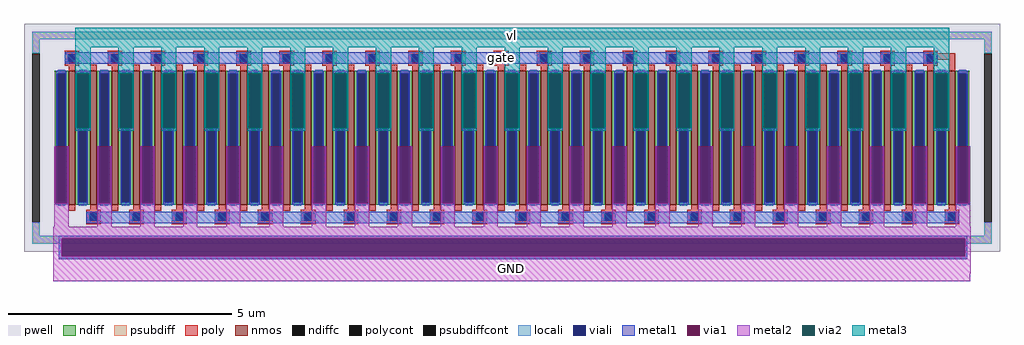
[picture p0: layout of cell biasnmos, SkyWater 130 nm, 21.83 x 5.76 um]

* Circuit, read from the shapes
.subckt biasnmos GND gate vl
XM1 vl gate GND GND sky130_fd_pr__nfet_01v8 w=3 l=0.15 m=42
.ends

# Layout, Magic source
magic
tech sky130A
magscale 1 2
<< poly >>
rect 3963 675 4060 701
rect 3967 671 4060 675
rect 4030 623 4060 671
<< locali >>
rect 50 -128 4114 -118
rect 50 -206 62 -128
rect 4102 -206 4114 -128
rect 50 -216 4114 -206
<< viali >>
rect 62 -206 4102 -128
<< metal1 >>
rect 76 654 3980 706
rect 126 620 188 622
rect 318 620 380 622
rect 510 620 572 622
rect 702 620 764 622
rect 894 620 956 622
rect 1086 620 1148 622
rect 1278 620 1340 622
rect 1470 620 1532 622
rect 1662 620 1724 622
rect 1854 620 1916 622
rect 2046 620 2108 622
rect 2238 620 2300 622
rect 2430 620 2492 622
rect 2622 620 2684 622
rect 2814 620 2876 622
rect 3006 620 3068 622
rect 3198 620 3260 622
rect 3390 620 3452 622
rect 3582 620 3644 622
rect 3774 620 3836 622
rect 3966 620 4028 622
rect 126 614 190 620
rect 126 364 132 614
rect 184 364 190 614
rect 318 614 382 620
rect 318 364 324 614
rect 376 364 382 614
rect 510 614 574 620
rect 510 364 516 614
rect 568 364 574 614
rect 702 614 766 620
rect 702 364 708 614
rect 760 364 766 614
rect 894 614 958 620
rect 894 364 900 614
rect 952 364 958 614
rect 1086 614 1150 620
rect 1086 364 1092 614
rect 1144 364 1150 614
rect 1278 614 1342 620
rect 1278 364 1284 614
rect 1336 364 1342 614
rect 1470 614 1534 620
rect 1470 364 1476 614
rect 1528 364 1534 614
rect 1662 614 1726 620
rect 1662 364 1668 614
rect 1720 364 1726 614
rect 1854 614 1918 620
rect 1854 364 1860 614
rect 1912 364 1918 614
rect 2046 614 2110 620
rect 2046 364 2052 614
rect 2104 364 2110 614
rect 2238 614 2302 620
rect 2238 364 2244 614
rect 2296 364 2302 614
rect 2430 614 2494 620
rect 2430 364 2436 614
rect 2488 364 2494 614
rect 2622 614 2686 620
rect 2622 364 2628 614
rect 2680 364 2686 614
rect 2814 614 2878 620
rect 2814 364 2820 614
rect 2872 364 2878 614
rect 3006 614 3070 620
rect 3006 364 3012 614
rect 3064 364 3070 614
rect 3198 614 3262 620
rect 3198 364 3204 614
rect 3256 364 3262 614
rect 3390 614 3454 620
rect 3390 364 3396 614
rect 3448 364 3454 614
rect 3582 614 3646 620
rect 3582 364 3588 614
rect 3640 364 3646 614
rect 3774 614 3838 620
rect 3774 364 3780 614
rect 3832 364 3838 614
rect 3966 614 4030 620
rect 3966 364 3972 614
rect 4024 364 4030 614
rect 30 30 36 284
rect 88 30 94 284
rect 30 24 94 30
rect 222 30 228 284
rect 280 30 286 284
rect 222 24 286 30
rect 414 30 420 284
rect 472 30 478 284
rect 414 24 478 30
rect 606 30 612 284
rect 664 30 670 284
rect 606 24 670 30
rect 798 30 804 284
rect 856 30 862 284
rect 798 24 862 30
rect 990 30 996 284
rect 1048 30 1054 284
rect 990 24 1054 30
rect 1182 30 1188 284
rect 1240 30 1246 284
rect 1182 24 1246 30
rect 1374 30 1380 284
rect 1432 30 1438 284
rect 1374 24 1438 30
rect 1566 30 1572 284
rect 1624 30 1630 284
rect 1566 24 1630 30
rect 1758 30 1764 284
rect 1816 30 1822 284
rect 1758 24 1822 30
rect 1950 30 1956 284
rect 2008 30 2014 284
rect 1950 24 2014 30
rect 2142 30 2148 284
rect 2200 30 2206 284
rect 2142 24 2206 30
rect 2334 30 2340 284
rect 2392 30 2398 284
rect 2334 24 2398 30
rect 2526 30 2532 284
rect 2584 30 2590 284
rect 2526 24 2590 30
rect 2718 30 2724 284
rect 2776 30 2782 284
rect 2718 24 2782 30
rect 2910 30 2916 284
rect 2968 30 2974 284
rect 2910 24 2974 30
rect 3102 30 3108 284
rect 3160 30 3166 284
rect 3102 24 3166 30
rect 3294 30 3300 284
rect 3352 30 3358 284
rect 3294 24 3358 30
rect 3486 30 3492 284
rect 3544 30 3550 284
rect 3486 24 3550 30
rect 3678 30 3684 284
rect 3736 30 3742 284
rect 3678 24 3742 30
rect 3870 30 3876 284
rect 3928 30 3934 284
rect 3870 24 3934 30
rect 4062 30 4068 284
rect 4120 30 4126 284
rect 4062 24 4126 30
rect 172 -60 4076 -8
rect 50 -128 4114 -116
rect 50 -208 62 -128
rect 4104 -208 4114 -128
rect 50 -220 4114 -208
<< via1 >>
rect 132 364 184 614
rect 324 364 376 614
rect 516 364 568 614
rect 708 364 760 614
rect 900 364 952 614
rect 1092 364 1144 614
rect 1284 364 1336 614
rect 1476 364 1528 614
rect 1668 364 1720 614
rect 1860 364 1912 614
rect 2052 364 2104 614
rect 2244 364 2296 614
rect 2436 364 2488 614
rect 2628 364 2680 614
rect 2820 364 2872 614
rect 3012 364 3064 614
rect 3204 364 3256 614
rect 3396 364 3448 614
rect 3588 364 3640 614
rect 3780 364 3832 614
rect 3972 364 4024 614
rect 36 30 88 284
rect 228 30 280 284
rect 420 30 472 284
rect 612 30 664 284
rect 804 30 856 284
rect 996 30 1048 284
rect 1188 30 1240 284
rect 1380 30 1432 284
rect 1572 30 1624 284
rect 1764 30 1816 284
rect 1956 30 2008 284
rect 2148 30 2200 284
rect 2340 30 2392 284
rect 2532 30 2584 284
rect 2724 30 2776 284
rect 2916 30 2968 284
rect 3108 30 3160 284
rect 3300 30 3352 284
rect 3492 30 3544 284
rect 3684 30 3736 284
rect 3876 30 3928 284
rect 4068 30 4120 284
rect 62 -206 4102 -128
rect 4102 -206 4104 -128
rect 62 -208 4104 -206
<< metal2 >>
rect 126 620 188 622
rect 318 620 380 622
rect 510 620 572 622
rect 702 620 764 622
rect 894 620 956 622
rect 1086 620 1148 622
rect 1278 620 1340 622
rect 1470 620 1532 622
rect 1662 620 1724 622
rect 1854 620 1916 622
rect 2046 620 2108 622
rect 2238 620 2300 622
rect 2430 620 2492 622
rect 2622 620 2684 622
rect 2814 620 2876 622
rect 3006 620 3068 622
rect 3198 620 3260 622
rect 3390 620 3452 622
rect 3582 620 3644 622
rect 3774 620 3836 622
rect 3966 620 4028 622
rect 126 614 190 620
rect 126 612 132 614
rect 184 612 190 614
rect 126 364 130 612
rect 186 364 190 612
rect 126 354 190 364
rect 318 614 382 620
rect 318 612 324 614
rect 376 612 382 614
rect 318 364 322 612
rect 378 364 382 612
rect 318 354 382 364
rect 510 614 574 620
rect 510 612 516 614
rect 568 612 574 614
rect 510 364 514 612
rect 570 364 574 612
rect 510 354 574 364
rect 702 614 766 620
rect 702 612 708 614
rect 760 612 766 614
rect 702 364 706 612
rect 762 364 766 612
rect 702 354 766 364
rect 894 614 958 620
rect 894 612 900 614
rect 952 612 958 614
rect 894 364 898 612
rect 954 364 958 612
rect 894 354 958 364
rect 1086 614 1150 620
rect 1086 612 1092 614
rect 1144 612 1150 614
rect 1086 364 1090 612
rect 1146 364 1150 612
rect 1086 354 1150 364
rect 1278 614 1342 620
rect 1278 612 1284 614
rect 1336 612 1342 614
rect 1278 364 1282 612
rect 1338 364 1342 612
rect 1278 354 1342 364
rect 1470 614 1534 620
rect 1470 612 1476 614
rect 1528 612 1534 614
rect 1470 364 1474 612
rect 1530 364 1534 612
rect 1470 354 1534 364
rect 1662 614 1726 620
rect 1662 612 1668 614
rect 1720 612 1726 614
rect 1662 364 1666 612
rect 1722 364 1726 612
rect 1662 354 1726 364
rect 1854 614 1918 620
rect 1854 612 1860 614
rect 1912 612 1918 614
rect 1854 364 1858 612
rect 1914 364 1918 612
rect 1854 354 1918 364
rect 2046 614 2110 620
rect 2046 612 2052 614
rect 2104 612 2110 614
rect 2046 364 2050 612
rect 2106 364 2110 612
rect 2046 354 2110 364
rect 2238 614 2302 620
rect 2238 612 2244 614
rect 2296 612 2302 614
rect 2238 364 2242 612
rect 2298 364 2302 612
rect 2238 354 2302 364
rect 2430 614 2494 620
rect 2430 612 2436 614
rect 2488 612 2494 614
rect 2430 364 2434 612
rect 2490 364 2494 612
rect 2430 354 2494 364
rect 2622 614 2686 620
rect 2622 612 2628 614
rect 2680 612 2686 614
rect 2622 364 2626 612
rect 2682 364 2686 612
rect 2622 354 2686 364
rect 2814 614 2878 620
rect 2814 612 2820 614
rect 2872 612 2878 614
rect 2814 364 2818 612
rect 2874 364 2878 612
rect 2814 354 2878 364
rect 3006 614 3070 620
rect 3006 612 3012 614
rect 3064 612 3070 614
rect 3006 364 3010 612
rect 3066 364 3070 612
rect 3006 354 3070 364
rect 3198 614 3262 620
rect 3198 612 3204 614
rect 3256 612 3262 614
rect 3198 364 3202 612
rect 3258 364 3262 612
rect 3198 354 3262 364
rect 3390 614 3454 620
rect 3390 612 3396 614
rect 3448 612 3454 614
rect 3390 364 3394 612
rect 3450 364 3454 612
rect 3390 354 3454 364
rect 3582 614 3646 620
rect 3582 612 3588 614
rect 3640 612 3646 614
rect 3582 364 3586 612
rect 3642 364 3646 612
rect 3582 354 3646 364
rect 3774 614 3838 620
rect 3774 612 3780 614
rect 3832 612 3838 614
rect 3774 364 3778 612
rect 3834 364 3838 612
rect 3774 354 3838 364
rect 3966 614 4030 620
rect 3966 612 3972 614
rect 4024 612 4030 614
rect 3966 364 3970 612
rect 4026 364 4030 612
rect 3966 354 4030 364
rect 30 30 36 284
rect 88 30 94 284
rect 30 -76 94 30
rect 222 30 228 284
rect 280 30 286 284
rect 222 -76 286 30
rect 414 30 420 284
rect 472 30 478 284
rect 414 -76 478 30
rect 606 30 612 284
rect 664 30 670 284
rect 606 -76 670 30
rect 798 30 804 284
rect 856 30 862 284
rect 798 -76 862 30
rect 990 30 996 284
rect 1048 30 1054 284
rect 990 -76 1054 30
rect 1182 30 1188 284
rect 1240 30 1246 284
rect 1182 -76 1246 30
rect 1374 30 1380 284
rect 1432 30 1438 284
rect 1374 -76 1438 30
rect 1566 30 1572 284
rect 1624 30 1630 284
rect 1566 -76 1630 30
rect 1758 30 1764 284
rect 1816 30 1822 284
rect 1758 -76 1822 30
rect 1950 30 1956 284
rect 2008 30 2014 284
rect 1950 -76 2014 30
rect 2142 30 2148 284
rect 2200 30 2206 284
rect 2142 -76 2206 30
rect 2334 30 2340 284
rect 2392 30 2398 284
rect 2334 -76 2398 30
rect 2526 30 2532 284
rect 2584 30 2590 284
rect 2526 -76 2590 30
rect 2718 30 2724 284
rect 2776 30 2782 284
rect 2718 -76 2782 30
rect 2910 30 2916 284
rect 2968 30 2974 284
rect 2910 -76 2974 30
rect 3102 30 3108 284
rect 3160 30 3166 284
rect 3102 -76 3166 30
rect 3294 30 3300 284
rect 3352 30 3358 284
rect 3294 -76 3358 30
rect 3486 30 3492 284
rect 3544 30 3550 284
rect 3486 -76 3550 30
rect 3678 30 3684 284
rect 3736 30 3742 284
rect 3678 -76 3742 30
rect 3870 30 3876 284
rect 3928 30 3934 284
rect 3870 -76 3934 30
rect 4062 30 4068 284
rect 4120 30 4126 284
rect 4062 -76 4126 30
rect 24 -128 4130 -76
rect 24 -208 62 -128
rect 4104 -208 4130 -128
rect 24 -284 4130 -208
rect 24 -320 4128 -284
<< via2 >>
rect 130 364 132 612
rect 132 364 184 612
rect 184 364 186 612
rect 322 364 324 612
rect 324 364 376 612
rect 376 364 378 612
rect 514 364 516 612
rect 516 364 568 612
rect 568 364 570 612
rect 706 364 708 612
rect 708 364 760 612
rect 760 364 762 612
rect 898 364 900 612
rect 900 364 952 612
rect 952 364 954 612
rect 1090 364 1092 612
rect 1092 364 1144 612
rect 1144 364 1146 612
rect 1282 364 1284 612
rect 1284 364 1336 612
rect 1336 364 1338 612
rect 1474 364 1476 612
rect 1476 364 1528 612
rect 1528 364 1530 612
rect 1666 364 1668 612
rect 1668 364 1720 612
rect 1720 364 1722 612
rect 1858 364 1860 612
rect 1860 364 1912 612
rect 1912 364 1914 612
rect 2050 364 2052 612
rect 2052 364 2104 612
rect 2104 364 2106 612
rect 2242 364 2244 612
rect 2244 364 2296 612
rect 2296 364 2298 612
rect 2434 364 2436 612
rect 2436 364 2488 612
rect 2488 364 2490 612
rect 2626 364 2628 612
rect 2628 364 2680 612
rect 2680 364 2682 612
rect 2818 364 2820 612
rect 2820 364 2872 612
rect 2872 364 2874 612
rect 3010 364 3012 612
rect 3012 364 3064 612
rect 3064 364 3066 612
rect 3202 364 3204 612
rect 3204 364 3256 612
rect 3256 364 3258 612
rect 3394 364 3396 612
rect 3396 364 3448 612
rect 3448 364 3450 612
rect 3586 364 3588 612
rect 3588 364 3640 612
rect 3640 364 3642 612
rect 3778 364 3780 612
rect 3780 364 3832 612
rect 3832 364 3834 612
rect 3970 364 3972 612
rect 3972 364 4024 612
rect 4024 364 4026 612
<< metal3 >>
rect 124 728 4032 814
rect 124 612 192 728
rect 124 364 130 612
rect 186 364 192 612
rect 124 354 192 364
rect 316 612 384 728
rect 316 364 322 612
rect 378 364 384 612
rect 316 354 384 364
rect 508 612 576 728
rect 508 364 514 612
rect 570 364 576 612
rect 508 354 576 364
rect 700 612 768 728
rect 700 364 706 612
rect 762 364 768 612
rect 700 354 768 364
rect 892 612 960 728
rect 892 364 898 612
rect 954 364 960 612
rect 892 354 960 364
rect 1084 612 1152 728
rect 1084 364 1090 612
rect 1146 364 1152 612
rect 1084 354 1152 364
rect 1276 612 1344 728
rect 1276 364 1282 612
rect 1338 364 1344 612
rect 1276 354 1344 364
rect 1468 612 1536 728
rect 1468 364 1474 612
rect 1530 364 1536 612
rect 1468 354 1536 364
rect 1660 612 1728 728
rect 1660 364 1666 612
rect 1722 364 1728 612
rect 1660 354 1728 364
rect 1852 612 1920 728
rect 1852 364 1858 612
rect 1914 364 1920 612
rect 1852 354 1920 364
rect 2044 612 2112 728
rect 2044 364 2050 612
rect 2106 364 2112 612
rect 2044 354 2112 364
rect 2236 612 2304 728
rect 2236 364 2242 612
rect 2298 364 2304 612
rect 2236 354 2304 364
rect 2428 612 2496 728
rect 2428 364 2434 612
rect 2490 364 2496 612
rect 2428 354 2496 364
rect 2620 612 2688 728
rect 2620 364 2626 612
rect 2682 364 2688 612
rect 2620 354 2688 364
rect 2812 612 2880 728
rect 2812 364 2818 612
rect 2874 364 2880 612
rect 2812 354 2880 364
rect 3004 612 3072 728
rect 3004 364 3010 612
rect 3066 364 3072 612
rect 3004 354 3072 364
rect 3196 612 3264 728
rect 3196 364 3202 612
rect 3258 364 3264 612
rect 3196 354 3264 364
rect 3388 612 3456 728
rect 3388 364 3394 612
rect 3450 364 3456 612
rect 3388 354 3456 364
rect 3580 612 3648 728
rect 3580 364 3586 612
rect 3642 364 3648 612
rect 3580 354 3648 364
rect 3772 612 3840 728
rect 3772 364 3778 612
rect 3834 364 3840 612
rect 3772 354 3840 364
rect 3964 612 4032 728
rect 3964 364 3970 612
rect 4026 364 4032 612
rect 3964 354 4032 364
use sky130_fd_pr__nfet_01v8_4PXCG5  sky130_fd_pr__nfet_01v8_4PXCG5_0
transform 1 0 2077 0 -1 323
box -2183 -510 2183 510
<< labels >>
rlabel metal2 28 -318 4124 -206 1 GND
port 2 n
rlabel metal1 80 656 3976 704 1 gate
port 4 n
rlabel metal3 124 748 4024 810 1 vl
port 5 n
<< end >>

# cell sky130_fd_pr__nfet_01v8_4PXCG5: kit device sky130_fd_pr__nfet_01v8, w 3 l 0.150 m 1 nf 42 diffcov 100 polycov 100 guard 1 glc 1 grc 1 gtc 0 gbc 0 tbcov 100 rlcov 100 topc 1 botc 1 poverlap 1 doverlap 1 lmin 0.15 wmin 0.42 compatible {sky130_fd_pr__nfet_01v8 sky130_fd_pr__nfet_01v8_lvt sky130_fd_bs_flash__special_sonosfet_star sky130_fd_pr__nfet_g5v0d10v5 sky130_fd_pr__nfet_05v0_nvt} full_metal 1 viasrc 100 viadrn 100 viagate 100 viagb 0 viagr 0 viagl 0 viagt 0
